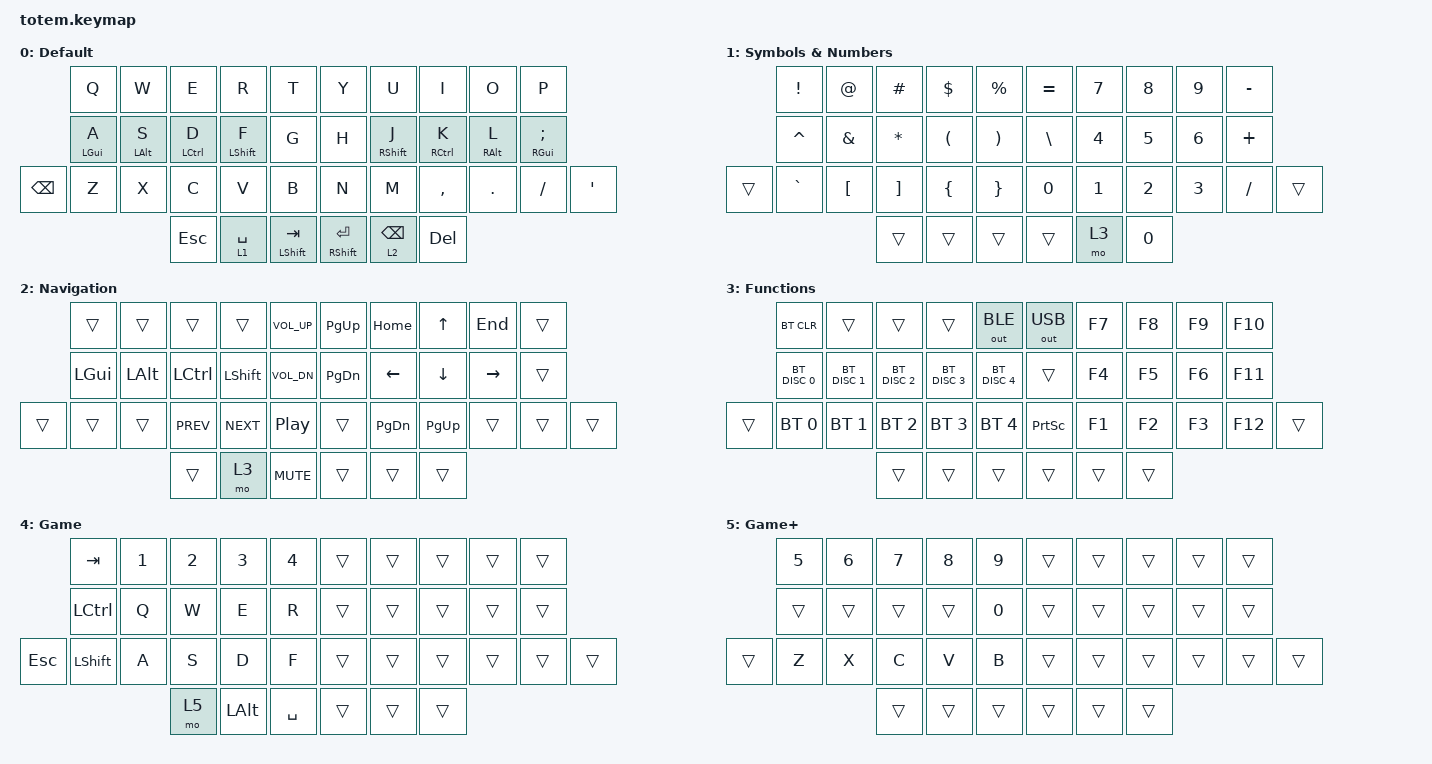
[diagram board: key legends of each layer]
#include <behaviors.dtsi>
#include <dt-bindings/zmk/bt.h>
#include <dt-bindings/zmk/keys.h>
#include <dt-bindings/zmk/outputs.h>

#define BASE 0

&mt {
    flavor = "tap-preferred";
    quick-tap-ms = <200>;
    tapping-term-ms = <200>;
    require-prior-idle-ms = <75>;
};

/ {
    behavors {
        hml: home_row_mod_left {
            compatible = "zmk,behavior-hold-tap";
            #binding-cells = <2>;
            flavor = "balanced";
            require-prior-idle-ms = <75>;
            tapping-term-ms = <200>;
            quick-tap-ms = <200>;
            bindings = <&kp>, <&kp>;

            hold-trigger-key-positions = <
                 5  6  7  8  9 
                15 16 17 18 19
                26 27 28 29 30 31
                35 36 37
            >;

            // List of keys on the right side of the keyboard

            hold-trigger-on-release;
        };

        hmr: home_row_mod_right {
            compatible = "zmk,behavior-hold-tap";
            #binding-cells = <2>;
            flavor = "balanced";
            require-prior-idle-ms = <75>;
            tapping-term-ms = <200>;
            quick-tap-ms = <200>;
            bindings = <&kp>, <&kp>;

            hold-trigger-key-positions = <
                    0  1  2  3  4
                   10 11 12 13 14
                20 21 22 23 24 25
                         32 33 34
            >;

            // List of keys on the left side of the keyboard

            hold-trigger-on-release;
        };
    };

    combos {
        compatible = "zmk,combos";

        backtick {
            bindings = <&kp GRAVE>;
            key-positions = <1 2>;
            require-prior-idle-ms = <75>;
            layers = <0 1 2 3>;
        };

        backslash {
            bindings = <&kp BACKSLASH>;
            key-positions = <29 28>;
            require-prior-idle-ms = <75>;
        };

        minus {
            bindings = <&kp MINUS>;
            key-positions = <8 7>;
            require-prior-idle-ms = <75>;
            layers = <0 2>;
        };

        game-toggle {
            bindings = <&tog 4>;
            key-positions = <20 34>;
            layers = <0 4>;
        };
    };

    behaviors {
    };

    keymap {
        compatible = "zmk,keymap";

        def {
            display-name = "Default";
            bindings = <
          &kp Q        &kp W        &kp E         &kp R         &kp T                 &kp Y                   &kp U            &kp I         &kp O        &kp P
          &hml LGUI A  &hml LALT S  &hml LCTRL D  &hml LSHFT F  &kp G                 &kp H                   &hmr RSHFT J     &hmr RCTRL K  &hmr RALT L  &hmr RGUI SEMI
&kp BSPC  &kp Z        &kp X        &kp C         &kp V         &kp B                 &kp N                   &kp M            &kp COMMA     &kp DOT      &kp FSLH        &kp SQT
                                    &kp ESCAPE    &lt 1 SPACE   &mt LEFT_SHIFT TAB    &mt RIGHT_SHIFT RETURN  &lt 2 BACKSPACE  &kp DEL
            >;
        };

        sym-num {
            bindings = <
        &kp EXCL   &kp AT            &kp HASH           &kp DLLR              &kp PERCENT              &kp EQUAL      &kp N7  &kp N8  &kp N9  &kp MINUS
        &kp CARET  &kp AMPERSAND     &kp STAR           &kp LEFT_PARENTHESIS  &kp RIGHT_PARENTHESIS    &kp BACKSLASH  &kp N4  &kp N5  &kp N6  &kp PLUS
&trans  &kp GRAVE  &kp LEFT_BRACKET  &kp RIGHT_BRACKET  &kp LEFT_BRACE        &kp RBRC                 &kp N0         &kp N1  &kp N2  &kp N3  &kp SLASH  &trans
                                     &trans             &trans                &trans                   &trans         &mo 3   &kp N0
            >;

            display-name = "Symbols & Numbers";
        };

        nav {
            bindings = <
        &trans        &trans        &trans      &trans          &kp C_VOL_UP        &kp PG_UP  &kp HOME   &kp UP     &kp END    &trans
        &kp LEFT_GUI  &kp LEFT_ALT  &kp LCTRL   &kp LEFT_SHIFT  &kp C_VOL_DN        &kp PG_DN  &kp LEFT   &kp DOWN   &kp RIGHT  &trans
&trans  &trans        &trans        &kp C_PREV  &kp C_NEXT      &kp C_PLAY_PAUSE    &trans     &kp PG_DN  &kp PG_UP  &trans     &trans  &trans
                                    &trans      &mo 3           &kp C_MUTE          &trans     &trans     &trans
            >;

            display-name = "Navigation";
        };

        fun {
            bindings = <
        &bt BT_CLR     &trans         &trans         &trans         &out OUT_BLE     &out OUT_USB     &kp F7  &kp F8  &kp F9  &kp F10
        &bt BT_DISC 0  &bt BT_DISC 1  &bt BT_DISC 2  &bt BT_DISC 3  &bt BT_DISC 4    &trans           &kp F4  &kp F5  &kp F6  &kp F11
&trans  &bt BT_SEL 0   &bt BT_SEL 1   &bt BT_SEL 2   &bt BT_SEL 3   &bt BT_SEL 4     &kp PRINTSCREEN  &kp F1  &kp F2  &kp F3  &kp F12  &trans
                                      &trans         &trans         &trans           &trans           &trans  &trans
            >;

            display-name = "Functions";
        };

        game {
            bindings = <
         &kp TAB    &kp N1  &kp N2  &kp N3    &kp N4       &trans  &trans  &trans  &trans  &trans
         &kp LCTRL  &kp Q   &kp W   &kp E     &kp R        &trans  &trans  &trans  &trans  &trans
&kp ESC  &kp LSHFT  &kp A   &kp S   &kp D     &kp F        &trans  &trans  &trans  &trans  &trans  &trans
                            &mo 5   &kp LALT  &kp SPACE    &trans  &trans  &trans
            >;

            label = "Game";
        };

        game+ {
            bindings = <
        &kp N5  &kp N6  &kp N7  &kp N8  &kp N9    &trans  &trans  &trans  &trans  &trans
        &trans  &trans  &trans  &trans  &kp N0    &trans  &trans  &trans  &trans  &trans
&trans  &kp Z   &kp X   &kp C   &kp V   &kp B     &trans  &trans  &trans  &trans  &trans  &trans
                        &trans  &trans  &trans    &trans  &trans  &trans
            >;

            label = "Game+";
        };
    };
};
